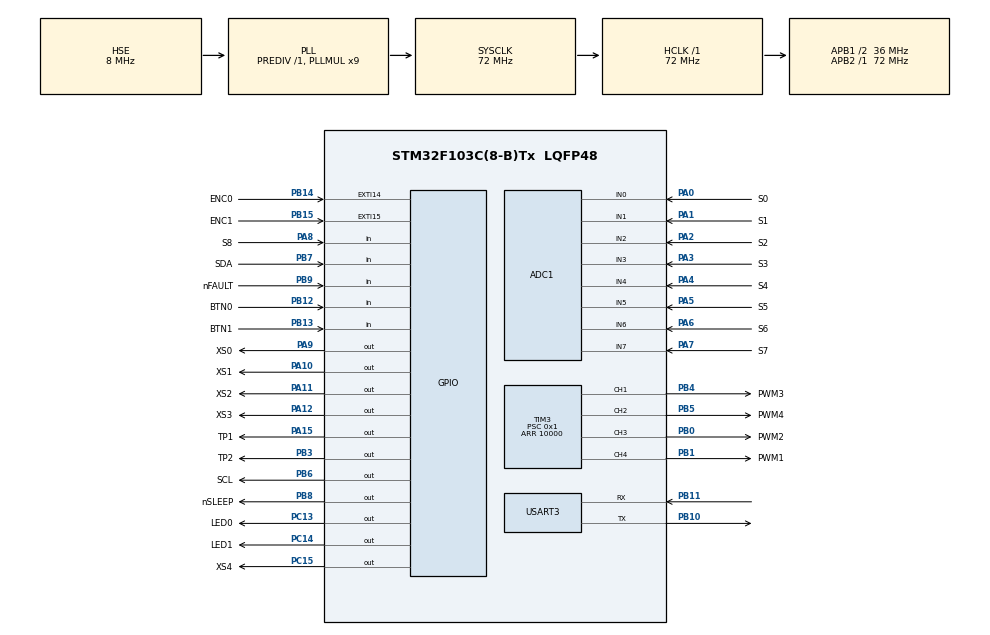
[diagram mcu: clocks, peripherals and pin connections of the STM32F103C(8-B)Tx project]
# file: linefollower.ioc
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Mcu.Family=STM32F1
PB10.Mode=Asynchronous
ADC1.ContinuousConvMode=ENABLE
SH.ADCx_IN2.0=ADC1_IN2,IN2
ADC1.SamplingTime-6\#ChannelRegularConversion=ADC_SAMPLETIME_1CYCLE_5
PB14.GPIO_Label=ENC0
PA6.GPIO_Label=S6
PB0.GPIO_Label=PWM2
PB6.GPIO_Label=SCL
PB13.GPIO_Label=BTN1
PB11.Signal=USART3_RX
PB13.Signal=GPIO_Input
PB15.Signal=GPXTI15
PC15-OSC32_OUT.GPIO_Label=XS4
TIM3.Channel-PWM\ Generation4\ CH4=TIM_CHANNEL_4
ADC1.Channel-8\#ChannelRegularConversion=ADC_CHANNEL_7
RCC.SYSCLKSource=RCC_SYSCLKSOURCE_PLLCLK
ProjectManager.StackSize=0x400
PD1-OSC_OUT.Signal=RCC_OSC_OUT
PA15.GPIO_Label=TP1
PA12.Signal=GPIO_Output
ADC1.Channel-5\#ChannelRegularConversion=ADC_CHANNEL_4
ADC1.Channel-3\#ChannelRegularConversion=ADC_CHANNEL_2
RCC.HCLKFreq_Value=72000000
SH.ADCx_IN3.0=ADC1_IN3,IN3
RCC.APB2TimFreq_Value=72000000
TIM3.Period=10000
PB6.Signal=GPIO_Output
Dma.ADC1.0.Direction=DMA_PERIPH_TO_MEMORY
ADC1.Channel-2\#ChannelRegularConversion=ADC_CHANNEL_1
TIM2.ClockDivision=TIM_CLOCKDIVISION_DIV4
Dma.ADC1.0.MemDataAlignment=DMA_MDATAALIGN_WORD
RCC.AHBFreq_Value=72000000
TIM3.Channel-PWM\ Generation1\ CH1=TIM_CHANNEL_1
TIM3.ClockDivision=TIM_CLOCKDIVISION_DIV1
NVIC.EXTI15_10_IRQn=true\:0\:0\:false\:false\:true\:true\:true
RCC.PLLMUL=RCC_PLL_MUL9
PB12.GPIO_Label=BTN0
ADC1.SamplingTime-4\#ChannelRegularConversion=ADC_SAMPLETIME_1CYCLE_5
ADC1.Channel-6\#ChannelRegularConversion=ADC_CHANNEL_5
ADC1.Rank-2\#ChannelRegularConversion=2
PA14.Mode=Serial_Wire
TIM3.Prescaler=0x1
PB1.GPIO_Label=PWM1
Dma.ADC1.0.PeriphInc=DMA_PINC_DISABLE
NVIC.TIM2_IRQn=true\:0\:0\:false\:false\:true\:true\:true
PA10.GPIO_Label=XS1
PB7.Signal=GPIO_Input
PA8.Signal=GPIO_Input
SH.ADCx_IN0.0=ADC1_IN0,IN0
SH.S_TIM3_CH1.0=TIM3_CH1,PWM Generation1 CH1
TIM4.Period=3500
VP_TIM1_VS_ClockSourceINT.Mode=Internal
PB7.GPIO_Label=SDA
Mcu.Package=LQFP48
PB9.Signal=GPIO_Input
TIM2.Prescaler=7250
PB14.GPIO_PuPd=GPIO_PULLUP
PB1.Signal=S_TIM3_CH4
PA6.Signal=ADCx_IN6
PB15.GPIO_PuPd=GPIO_PULLUP
PA2.GPIO_Label=S2
PB6.GPIO_ModeDefaultOutputPP=GPIO_MODE_OUTPUT_OD
PA10.Signal=GPIO_Output
PA15.Signal=GPIO_Output
SH.ADCx_IN1.0=ADC1_IN1,IN1
PB5.GPIO_Label=PWM4
RCC.APB1TimFreq_Value=72000000
PC14-OSC32_IN.GPIO_Label=LED1
ADC1.Rank-6\#ChannelRegularConversion=6
Dma.Request0=ADC1
ADC1.SamplingTime-8\#ChannelRegularConversion=ADC_SAMPLETIME_1CYCLE_5
PA4.GPIO_Label=S4
VP_TIM3_VS_ClockSourceINT.Mode=Internal
ADC1.Rank-4\#ChannelRegularConversion=4
PB4.Signal=S_TIM3_CH1
PA3.Signal=ADCx_IN3
PB3.GPIO_Label=TP2
RCC.PLLSourceVirtual=RCC_PLLSOURCE_HSE
Dma.ADC1.0.Instance=DMA1_Channel1
PD1-OSC_OUT.Mode=HSE-External-Oscillator
PB9.GPIO_Label=nFAULT
ADC1.Channel-4\#ChannelRegularConversion=ADC_CHANNEL_3
SH.ADCx_IN6.0=ADC1_IN6,IN6
ADC1.Rank-8\#ChannelRegularConversion=8
PA9.GPIO_Label=XS0
PC13-TAMPER-RTC.Signal=GPIO_Output
RCC.USBPrescaler=RCC_USBCLKSOURCE_PLL_DIV1_5
PA11.GPIO_Label=XS2
PD0-OSC_IN.Signal=RCC_OSC_IN
RCC.APB1CLKDivider=RCC_HCLK_DIV2
PC14-OSC32_IN.Signal=GPIO_Output
SH.S_TIM3_CH3.0=TIM3_CH3,PWM Generation3 CH3
PA12.GPIO_Label=XS3
ADC1.SamplingTime-2\#ChannelRegularConversion=ADC_SAMPLETIME_1CYCLE_5
PA0-WKUP.GPIO_Label=S0
PA0-WKUP.Signal=ADCx_IN0
ADC1.Channel-7\#ChannelRegularConversion=ADC_CHANNEL_6
RCC.ADCPresc=RCC_ADCPCLK2_DIV6
PA13.Signal=SYS_JTMS-SWDIO
TIM3.Channel-PWM\ Generation3\ CH3=TIM_CHANNEL_3
PB8.GPIO_Label=nSLEEP
Dma.ADC1.0.PeriphDataAlignment=DMA_PDATAALIGN_WORD
PA8.GPIO_Label=S8
PB11.Mode=Asynchronous
ProjectManager.TargetToolchain=STM32CubeIDE
SH.ADCx_IN7.0=ADC1_IN7,IN7
Dma.ADC1.0.Mode=DMA_CIRCULAR
Dma.ADC1.0.Priority=DMA_PRIORITY_LOW
PA9.Signal=GPIO_Output
ADC1.Channel-1\#ChannelRegularConversion=ADC_CHANNEL_0
RCC.USBFreq_Value=48000000
TIM4.Prescaler=10
PC15-OSC32_OUT.Signal=GPIO_Output
PA1.Signal=ADCx_IN1
PD0-OSC_IN.Mode=HSE-External-Oscillator
PB10.Signal=USART3_TX
PB14.Signal=GPXTI14
PA5.Signal=ADCx_IN5
SH.S_TIM3_CH2.0=TIM3_CH2,PWM Generation2 CH2
board=custom
PC13-TAMPER-RTC.GPIO_Label=LED0
ADC1.EnableAnalogWatchDog=true
RCC.APB2Freq_Value=72000000
PB4.GPIO_Label=PWM3
TIM4.ClockDivision=TIM_CLOCKDIVISION_DIV2
PB15.GPIO_Label=ENC1
VP_TIM2_VS_ClockSourceINT.Mode=Internal
VP_TIM4_VS_ClockSourceITR.Mode=TriggerSource_ITR0
PA1.GPIO_Label=S1
SH.ADCx_IN4.0=ADC1_IN4,IN4
TIM2.Period=0xffff
ADC1.NbrOfConversion=8
PA13.Mode=Serial_Wire
Mcu.Name=STM32F103C(8-B)Tx
PA2.Signal=ADCx_IN2
PB3.Signal=GPIO_Output
PA4.Signal=ADCx_IN4
ADC1.SamplingTime-1\#ChannelRegularConversion=ADC_SAMPLETIME_1CYCLE_5
RCC.SYSCLKFreq_VALUE=72000000
PB5.Signal=S_TIM3_CH2
PA7.GPIO_Label=S7
ADC1.master=1
PA5.GPIO_Label=S5
ADC1.Rank-3\#ChannelRegularConversion=3
ADC1.SamplingTime-3\#ChannelRegularConversion=ADC_SAMPLETIME_1CYCLE_5
USART3.VirtualMode=VM_ASYNC
ADC1.Rank-1\#ChannelRegularConversion=1
PA11.Signal=GPIO_Output
PA14.Signal=SYS_JTCK-SWCLK
Dma.ADC1.0.MemInc=DMA_MINC_ENABLE
ProjectManager.HeapSize=0x200
ADC1.SamplingTime-5\#ChannelRegularConversion=ADC_SAMPLETIME_1CYCLE_5
ADC1.WatchdogChannel=ADC_CHANNEL_0
PA8.GPIO_PuPd=GPIO_PULLUP
SH.ADCx_IN5.0=ADC1_IN5,IN5
ADC1.Rank-7\#ChannelRegularConversion=7
NVIC.PriorityGroup=NVIC_PRIORITYGROUP_4
ADC1.NbrOfConversionFlag=1
TIM3.Channel-PWM\ Generation2\ CH2=TIM_CHANNEL_2
PB8.Signal=GPIO_Output
ADC1.SamplingTime-7\#ChannelRegularConversion=ADC_SAMPLETIME_1CYCLE_5
NVIC.DMA1_Channel1_IRQn=true\:0\:0\:false\:false\:true\:false\:true
NVIC.TIM4_IRQn=true\:0\:0\:false\:false\:true\:true\:true
RCC.APB1Freq_Value=36000000
PB0.Signal=S_TIM3_CH3
ADC1.Rank-5\#ChannelRegularConversion=5
PB12.Signal=GPIO_Input
PA3.GPIO_Label=S3
SH.S_TIM3_CH4.0=TIM3_CH4,PWM Generation4 CH4
PA7.Signal=ADCx_IN7

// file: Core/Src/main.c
/* USER CODE BEGIN Header */
/**
  ******************************************************************************
  * @file           : main.c
  * @brief          : Main program body
  ******************************************************************************
  * @attention
  *
  * <h2><center>&copy; Copyright (c) 2021 STMicroelectronics.
  * All rights reserved.</center></h2>
  *
  * This software component is licensed by ST under BSD 3-Clause license,
  * the "License"; You may not use this file except in compliance with the
  * License. You may obtain a copy of the License at:
  *                        opensource.org/licenses/BSD-3-Clause
  *
  ******************************************************************************
  */
/* USER CODE END Header */

#include "main.h"

/* USER CODE BEGIN PTD */
typedef enum States
{
	CALIBRATING,
	DRIVING,
	OBSTACLE,
	INTERRUPTIONINI,
	INTERRUPTION,
}States;
/* USER CODE END PTD */

ADC_HandleTypeDef hadc1;
DMA_HandleTypeDef hdma_adc1;

TIM_HandleTypeDef htim1;
TIM_HandleTypeDef htim2;
TIM_HandleTypeDef htim3;
TIM_HandleTypeDef htim4;

UART_HandleTypeDef huart3;

/* USER CODE BEGIN PV */
uint32_t sensorValues[DMA_MEMDEPTH];
uint32_t weights[8] = { 0, 15, 30, 45, 60, 75, 90, 105 };
uint32_t minVals[8];
uint32_t maxVals[8];
uint32_t threshVals[8];
WEIGHTEDAVG_t filter;
uint32_t pos;

VL53_t s2;

volatile uint32_t ticksLeft = 0;
volatile uint32_t ticksRight = 0;

CTRL_t dTicks;
CTRL_t ctrl;

uint8_t wireRx[20];
uint8_t wireTx[20];
QUEUE_t wireRxQueue, wireTxQueue;
WIRE_t wire;

bool success;

uint16_t dists[2];

bool tp1 = false;
bool tp2 = false;

bool isLine = false;
bool isOilspill = false;
int stop = -101;
enum States state;
/* USER CODE END PV */

void SystemClock_Config(void);
static void MX_GPIO_Init(void);
static void MX_DMA_Init(void);
static void MX_ADC1_Init(void);
static void MX_TIM1_Init(void);
static void MX_TIM2_Init(void);
static void MX_TIM3_Init(void);
static void MX_TIM4_Init(void);
static void MX_USART3_UART_Init(void);
/* USER CODE BEGIN PFP */

void calibrateFiler();
bool validate();
void followTrack();
void turn(bool left, int speed, int ticks);
void goStraight(int speed, int ticks);
void obstacleSequence();
void interruptionSequence();
void checkforOilspill();

void ISR_ENCODER0()
{
	ticksLeft++;
}

void ISR_ENCODER1()
{
	ticksRight++;
}

void ISR_DMA(void)
{

}

void ISR_CTRL()
{
//	tp2 = !tp2;
//	HAL_GPIO_WritePin(TP2_GPIO_Port, TP2_Pin, tp2);
	followTrack();
}
/* USER CODE END PFP */

int main(void)
{

  /* MCU Configuration--------------------------------------------------------*/

  /* Reset of all peripherals, Initializes the Flash interface and the Systick. */
  HAL_Init();

  /* Configure the system clock */
  SystemClock_Config();

  /* USER CODE BEGIN SysInit */
  state = CALIBRATING;
  /* USER CODE END SysInit */

  /* Initialize all configured peripherals */
  MX_GPIO_Init();
  MX_DMA_Init();
  MX_ADC1_Init();
  MX_TIM1_Init();
  MX_TIM2_Init();
  MX_TIM3_Init();
  MX_TIM4_Init();
  MX_USART3_UART_Init();
  /* USER CODE BEGIN 2 */
  Powertrain_Init();

  WEIGHTEDAVG_Init(&filter,
		  8,
		  sensorValues,
		  minVals,
		  maxVals,
		  1600,
		  weights);
  WEIGHTEDAVG_Invert(&filter, true);

  HAL_GPIO_WritePin(XS0_GPIO_Port, XS0_Pin, 1);
  HAL_GPIO_WritePin(XS1_GPIO_Port, XS1_Pin, 1);
  HAL_GPIO_WritePin(XS2_GPIO_Port, XS2_Pin, 1);
  HAL_GPIO_WritePin(XS3_GPIO_Port, XS3_Pin, 1);
  HAL_GPIO_WritePin(XS4_GPIO_Port, XS4_Pin, 1);

  HAL_Delay(100);

  QUEUE_Init(&wireRxQueue, (char*)wireRx, 20);
  QUEUE_Init(&wireTxQueue, (char*)wireTx, 20);
  HAL_ADC_Start_DMA(&hadc1, sensorValues, DMA_MEMDEPTH);
  WIRE_Init(&wire,
		  SDA_GPIO_Port, SDA_Pin,
		  SCL_GPIO_Port, SCL_Pin,
		  0,
		  &wireRxQueue, &wireTxQueue);
  WIRE_Begin(&wire);

  CTRL_Init(KP_LINE,
		  KI_LINE,
		  KD_LINE,
		  T_LINE,
		  100.0, 100.0, &ctrl);

  CTRL_Init(KP_DIFF,
		  KI_DIFF,
		  KD_DIFF,
		  T_DIFF,
		  100.0, 100.0, &dTicks);

  calibrateFiler();

  VL53_SetTimeout(&s2, 500);
  success = VL53_Init(&s2, &wire, 0x29, XS2_GPIO_Port, XS2_Pin);
  VL53_SetMeasurementTimingBudget(&s2, 20000);
  /* USER CODE END 2 */

  /* Infinite loop */
  /* USER CODE BEGIN WHILE */
  while (1)
  {
	  for(int i = 0; i < 2; i++)
	  {
		  if(!VL53_TimeoutOccured(&s2))
		  {
			  dists[i] = VL53_ReadRangeSingle_mm(&s2);
		  }
		  else
		  {
			  dists[i] = OBSTACLE_MINDIST_MM + 5;
		  }
	  }

	  if(dists[0] <= OBSTACLE_MINDIST_MM && dists[1] <= OBSTACLE_MINDIST_MM)
	  {
		  state = OBSTACLE;
		  HAL_GPIO_WritePin(LED0_GPIO_Port, LED0_Pin, 1);
		  obstacleSequence();
		  state = DRIVING;
		  HAL_Delay(100);
	  }
	  else if(INTERRUPTIONINI != state)
	  {
		  HAL_GPIO_WritePin(LED0_GPIO_Port, LED0_Pin, 0);
		  state = DRIVING;
	  }

	  if(INTERRUPTIONINI == state)
	  {
		  state = INTERRUPTION;
//		  HAL_Delay(200);
		  if(!isLine)
		  {
			  interruptionSequence();
//			  Powertrain_SetDutycycles(stop, stop);
//			  HAL_Delay(100);
//			  obstacleSequence();
		  }
		  state = DRIVING;
	  }
    /* USER CODE END WHILE */

  }
}

void SystemClock_Config(void)
{
  RCC_OscInitTypeDef RCC_OscInitStruct = {0};
  RCC_ClkInitTypeDef RCC_ClkInitStruct = {0};
  RCC_PeriphCLKInitTypeDef PeriphClkInit = {0};

  /** Initializes the CPU, AHB and APB busses clocks
  */
  RCC_OscInitStruct.OscillatorType = RCC_OSCILLATORTYPE_HSE;
  RCC_OscInitStruct.HSEState = RCC_HSE_ON;
  RCC_OscInitStruct.HSEPredivValue = RCC_HSE_PREDIV_DIV1;
  RCC_OscInitStruct.HSIState = RCC_HSI_ON;
  RCC_OscInitStruct.PLL.PLLState = RCC_PLL_ON;
  RCC_OscInitStruct.PLL.PLLSource = RCC_PLLSOURCE_HSE;
  RCC_OscInitStruct.PLL.PLLMUL = RCC_PLL_MUL9;
  if (HAL_RCC_OscConfig(&RCC_OscInitStruct) != HAL_OK)
  {
    Error_Handler();
  }
  /** Initializes the CPU, AHB and APB busses clocks
  */
  RCC_ClkInitStruct.ClockType = RCC_CLOCKTYPE_HCLK|RCC_CLOCKTYPE_SYSCLK
                              |RCC_CLOCKTYPE_PCLK1|RCC_CLOCKTYPE_PCLK2;
  RCC_ClkInitStruct.SYSCLKSource = RCC_SYSCLKSOURCE_PLLCLK;
  RCC_ClkInitStruct.AHBCLKDivider = RCC_SYSCLK_DIV1;
  RCC_ClkInitStruct.APB1CLKDivider = RCC_HCLK_DIV2;
  RCC_ClkInitStruct.APB2CLKDivider = RCC_HCLK_DIV1;

  if (HAL_RCC_ClockConfig(&RCC_ClkInitStruct, FLASH_LATENCY_2) != HAL_OK)
  {
    Error_Handler();
  }
  PeriphClkInit.PeriphClockSelection = RCC_PERIPHCLK_ADC;
  PeriphClkInit.AdcClockSelection = RCC_ADCPCLK2_DIV6;
  if (HAL_RCCEx_PeriphCLKConfig(&PeriphClkInit) != HAL_OK)
  {
    Error_Handler();
  }
}

static void MX_ADC1_Init(void)
{

  ADC_AnalogWDGConfTypeDef AnalogWDGConfig = {0};
  ADC_ChannelConfTypeDef sConfig = {0};

  /** Common config
  */
  hadc1.Instance = ADC1;
  hadc1.Init.ScanConvMode = ADC_SCAN_ENABLE;
  hadc1.Init.ContinuousConvMode = ENABLE;
  hadc1.Init.DiscontinuousConvMode = DISABLE;
  hadc1.Init.ExternalTrigConv = ADC_SOFTWARE_START;
  hadc1.Init.DataAlign = ADC_DATAALIGN_RIGHT;
  hadc1.Init.NbrOfConversion = 8;
  if (HAL_ADC_Init(&hadc1) != HAL_OK)
  {
    Error_Handler();
  }
  /** Configure Analog WatchDog 1
  */
  AnalogWDGConfig.WatchdogMode = ADC_ANALOGWATCHDOG_SINGLE_REG;
  AnalogWDGConfig.HighThreshold = 0;
  AnalogWDGConfig.LowThreshold = 0;
  AnalogWDGConfig.Channel = ADC_CHANNEL_0;
  AnalogWDGConfig.ITMode = DISABLE;
  if (HAL_ADC_AnalogWDGConfig(&hadc1, &AnalogWDGConfig) != HAL_OK)
  {
    Error_Handler();
  }
  /** Configure Regular Channel
  */
  sConfig.Channel = ADC_CHANNEL_0;
  sConfig.Rank = ADC_REGULAR_RANK_1;
  sConfig.SamplingTime = ADC_SAMPLETIME_1CYCLE_5;
  if (HAL_ADC_ConfigChannel(&hadc1, &sConfig) != HAL_OK)
  {
    Error_Handler();
  }
  /** Configure Regular Channel
  */
  sConfig.Channel = ADC_CHANNEL_1;
  sConfig.Rank = ADC_REGULAR_RANK_2;
  if (HAL_ADC_ConfigChannel(&hadc1, &sConfig) != HAL_OK)
  {
    Error_Handler();
  }
  /** Configure Regular Channel
  */
  sConfig.Channel = ADC_CHANNEL_2;
  sConfig.Rank = ADC_REGULAR_RANK_3;
  if (HAL_ADC_ConfigChannel(&hadc1, &sConfig) != HAL_OK)
  {
    Error_Handler();
  }
  /** Configure Regular Channel
  */
  sConfig.Channel = ADC_CHANNEL_3;
  sConfig.Rank = ADC_REGULAR_RANK_4;
  if (HAL_ADC_ConfigChannel(&hadc1, &sConfig) != HAL_OK)
  {
    Error_Handler();
  }
  /** Configure Regular Channel
  */
  sConfig.Channel = ADC_CHANNEL_4;
  sConfig.Rank = ADC_REGULAR_RANK_5;
  if (HAL_ADC_ConfigChannel(&hadc1, &sConfig) != HAL_OK)
  {
    Error_Handler();
  }
  /** Configure Regular Channel
  */
  sConfig.Channel = ADC_CHANNEL_5;
  sConfig.Rank = ADC_REGULAR_RANK_6;
  if (HAL_ADC_ConfigChannel(&hadc1, &sConfig) != HAL_OK)
  {
    Error_Handler();
  }
  /** Configure Regular Channel
  */
  sConfig.Channel = ADC_CHANNEL_6;
  sConfig.Rank = ADC_REGULAR_RANK_7;
  if (HAL_ADC_ConfigChannel(&hadc1, &sConfig) != HAL_OK)
  {
    Error_Handler();
  }
  /** Configure Regular Channel
  */
  sConfig.Channel = ADC_CHANNEL_7;
  sConfig.Rank = ADC_REGULAR_RANK_8;
  if (HAL_ADC_ConfigChannel(&hadc1, &sConfig) != HAL_OK)
  {
    Error_Handler();
  }

}

static void MX_TIM1_Init(void)
{

  TIM_ClockConfigTypeDef sClockSourceConfig = {0};
  TIM_MasterConfigTypeDef sMasterConfig = {0};

  htim1.Instance = TIM1;
  htim1.Init.Prescaler = 0;
  htim1.Init.CounterMode = TIM_COUNTERMODE_UP;
  htim1.Init.Period = 0;
  htim1.Init.ClockDivision = TIM_CLOCKDIVISION_DIV1;
  htim1.Init.RepetitionCounter = 0;
  htim1.Init.AutoReloadPreload = TIM_AUTORELOAD_PRELOAD_DISABLE;
  if (HAL_TIM_Base_Init(&htim1) != HAL_OK)
  {
    Error_Handler();
  }
  sClockSourceConfig.ClockSource = TIM_CLOCKSOURCE_INTERNAL;
  if (HAL_TIM_ConfigClockSource(&htim1, &sClockSourceConfig) != HAL_OK)
  {
    Error_Handler();
  }
  sMasterConfig.MasterOutputTrigger = TIM_TRGO_RESET;
  sMasterConfig.MasterSlaveMode = TIM_MASTERSLAVEMODE_DISABLE;
  if (HAL_TIMEx_MasterConfigSynchronization(&htim1, &sMasterConfig) != HAL_OK)
  {
    Error_Handler();
  }

}

static void MX_TIM2_Init(void)
{

  TIM_ClockConfigTypeDef sClockSourceConfig = {0};
  TIM_MasterConfigTypeDef sMasterConfig = {0};

  htim2.Instance = TIM2;
  htim2.Init.Prescaler = 7250;
  htim2.Init.CounterMode = TIM_COUNTERMODE_UP;
  htim2.Init.Period = 0xffff;
  htim2.Init.ClockDivision = TIM_CLOCKDIVISION_DIV4;
  htim2.Init.AutoReloadPreload = TIM_AUTORELOAD_PRELOAD_DISABLE;
  if (HAL_TIM_Base_Init(&htim2) != HAL_OK)
  {
    Error_Handler();
  }
  sClockSourceConfig.ClockSource = TIM_CLOCKSOURCE_INTERNAL;
  if (HAL_TIM_ConfigClockSource(&htim2, &sClockSourceConfig) != HAL_OK)
  {
    Error_Handler();
  }
  sMasterConfig.MasterOutputTrigger = TIM_TRGO_RESET;
  sMasterConfig.MasterSlaveMode = TIM_MASTERSLAVEMODE_DISABLE;
  if (HAL_TIMEx_MasterConfigSynchronization(&htim2, &sMasterConfig) != HAL_OK)
  {
    Error_Handler();
  }
  /* USER CODE BEGIN TIM2_Init 2 */
  HAL_TIM_Base_Start_IT(&htim2);
  /* USER CODE END TIM2_Init 2 */

}

static void MX_TIM3_Init(void)
{

  TIM_ClockConfigTypeDef sClockSourceConfig = {0};
  TIM_MasterConfigTypeDef sMasterConfig = {0};
  TIM_OC_InitTypeDef sConfigOC = {0};

  htim3.Instance = TIM3;
  htim3.Init.Prescaler = 0x1;
  htim3.Init.CounterMode = TIM_COUNTERMODE_UP;
  htim3.Init.Period = 10000;
  htim3.Init.ClockDivision = TIM_CLOCKDIVISION_DIV1;
  htim3.Init.AutoReloadPreload = TIM_AUTORELOAD_PRELOAD_DISABLE;
  if (HAL_TIM_Base_Init(&htim3) != HAL_OK)
  {
    Error_Handler();
  }
  sClockSourceConfig.ClockSource = TIM_CLOCKSOURCE_INTERNAL;
  if (HAL_TIM_ConfigClockSource(&htim3, &sClockSourceConfig) != HAL_OK)
  {
    Error_Handler();
  }
  if (HAL_TIM_PWM_Init(&htim3) != HAL_OK)
  {
    Error_Handler();
  }
  sMasterConfig.MasterOutputTrigger = TIM_TRGO_RESET;
  sMasterConfig.MasterSlaveMode = TIM_MASTERSLAVEMODE_DISABLE;
  if (HAL_TIMEx_MasterConfigSynchronization(&htim3, &sMasterConfig) != HAL_OK)
  {
    Error_Handler();
  }
  sConfigOC.OCMode = TIM_OCMODE_PWM1;
  sConfigOC.Pulse = 0;
  sConfigOC.OCPolarity = TIM_OCPOLARITY_HIGH;
  sConfigOC.OCFastMode = TIM_OCFAST_DISABLE;
  if (HAL_TIM_PWM_ConfigChannel(&htim3, &sConfigOC, TIM_CHANNEL_1) != HAL_OK)
  {
    Error_Handler();
  }
  if (HAL_TIM_PWM_ConfigChannel(&htim3, &sConfigOC, TIM_CHANNEL_2) != HAL_OK)
  {
    Error_Handler();
  }
  if (HAL_TIM_PWM_ConfigChannel(&htim3, &sConfigOC, TIM_CHANNEL_3) != HAL_OK)
  {
    Error_Handler();
  }
  if (HAL_TIM_PWM_ConfigChannel(&htim3, &sConfigOC, TIM_CHANNEL_4) != HAL_OK)
  {
    Error_Handler();
  }
  /* USER CODE BEGIN TIM3_Init 2 */
  HAL_TIM_PWM_Start(&htim3, TIM_CHANNEL_1);
  HAL_TIM_PWM_Start(&htim3, TIM_CHANNEL_2);
  HAL_TIM_PWM_Start(&htim3, TIM_CHANNEL_3);
  HAL_TIM_PWM_Start(&htim3, TIM_CHANNEL_4);
  /* USER CODE END TIM3_Init 2 */
  HAL_TIM_MspPostInit(&htim3);

}

static void MX_TIM4_Init(void)
{

  TIM_SlaveConfigTypeDef sSlaveConfig = {0};
  TIM_MasterConfigTypeDef sMasterConfig = {0};

  htim4.Instance = TIM4;
  htim4.Init.Prescaler = 10;
  htim4.Init.CounterMode = TIM_COUNTERMODE_UP;
  htim4.Init.Period = 3500;
  htim4.Init.ClockDivision = TIM_CLOCKDIVISION_DIV2;
  htim4.Init.AutoReloadPreload = TIM_AUTORELOAD_PRELOAD_DISABLE;
  if (HAL_TIM_Base_Init(&htim4) != HAL_OK)
  {
    Error_Handler();
  }
  sSlaveConfig.SlaveMode = TIM_SLAVEMODE_DISABLE;
  sSlaveConfig.InputTrigger = TIM_TS_ITR0;
  if (HAL_TIM_SlaveConfigSynchro(&htim4, &sSlaveConfig) != HAL_OK)
  {
    Error_Handler();
  }
  sMasterConfig.MasterOutputTrigger = TIM_TRGO_RESET;
  sMasterConfig.MasterSlaveMode = TIM_MASTERSLAVEMODE_DISABLE;
  if (HAL_TIMEx_MasterConfigSynchronization(&htim4, &sMasterConfig) != HAL_OK)
  {
    Error_Handler();
  }
  /* USER CODE BEGIN TIM4_Init 2 */
  HAL_TIM_Base_Start_IT(&htim4);
  /* USER CODE END TIM4_Init 2 */

}

static void MX_USART3_UART_Init(void)
{

  huart3.Instance = USART3;
  huart3.Init.BaudRate = 115200;
  huart3.Init.WordLength = UART_WORDLENGTH_8B;
  huart3.Init.StopBits = UART_STOPBITS_1;
  huart3.Init.Parity = UART_PARITY_NONE;
  huart3.Init.Mode = UART_MODE_TX_RX;
  huart3.Init.HwFlowCtl = UART_HWCONTROL_NONE;
  huart3.Init.OverSampling = UART_OVERSAMPLING_16;
  if (HAL_UART_Init(&huart3) != HAL_OK)
  {
    Error_Handler();
  }

}

static void MX_DMA_Init(void)
{

  /* DMA controller clock enable */
  __HAL_RCC_DMA1_CLK_ENABLE();

  /* DMA interrupt init */
  /* DMA1_Channel1_IRQn interrupt configuration */
  HAL_NVIC_SetPriority(DMA1_Channel1_IRQn, 0, 0);
  HAL_NVIC_EnableIRQ(DMA1_Channel1_IRQn);

}

static void MX_GPIO_Init(void)
{
  GPIO_InitTypeDef GPIO_InitStruct = {0};

  /* GPIO Ports Clock Enable */
  __HAL_RCC_GPIOC_CLK_ENABLE();
  __HAL_RCC_GPIOD_CLK_ENABLE();
  __HAL_RCC_GPIOA_CLK_ENABLE();
  __HAL_RCC_GPIOB_CLK_ENABLE();

  /*Configure GPIO pin Output Level */
  HAL_GPIO_WritePin(GPIOC, LED0_Pin|LED1_Pin|XS4_Pin, GPIO_PIN_RESET);

  /*Configure GPIO pin Output Level */
  HAL_GPIO_WritePin(GPIOA, XS0_Pin|XS1_Pin|XS2_Pin|XS3_Pin
                          |TP1_Pin, GPIO_PIN_RESET);

  /*Configure GPIO pin Output Level */
  HAL_GPIO_WritePin(GPIOB, TP2_Pin|SCL_Pin|nSLEEP_Pin, GPIO_PIN_RESET);

  /*Configure GPIO pins : LED0_Pin LED1_Pin XS4_Pin */
  GPIO_InitStruct.Pin = LED0_Pin|LED1_Pin|XS4_Pin;
  GPIO_InitStruct.Mode = GPIO_MODE_OUTPUT_PP;
  GPIO_InitStruct.Pull = GPIO_NOPULL;
  GPIO_InitStruct.Speed = GPIO_SPEED_FREQ_LOW;
  HAL_GPIO_Init(GPIOC, &GPIO_InitStruct);

  /*Configure GPIO pins : BTN0_Pin BTN1_Pin SDA_Pin nFAULT_Pin */
  GPIO_InitStruct.Pin = BTN0_Pin|BTN1_Pin|SDA_Pin|nFAULT_Pin;
  GPIO_InitStruct.Mode = GPIO_MODE_INPUT;
  GPIO_InitStruct.Pull = GPIO_NOPULL;
  HAL_GPIO_Init(GPIOB, &GPIO_InitStruct);

  /*Configure GPIO pins : ENC0_Pin ENC1_Pin */
  GPIO_InitStruct.Pin = ENC0_Pin|ENC1_Pin;
  GPIO_InitStruct.Mode = GPIO_MODE_IT_RISING;
  GPIO_InitStruct.Pull = GPIO_PULLUP;
  HAL_GPIO_Init(GPIOB, &GPIO_InitStruct);

  /*Configure GPIO pin : S8_Pin */
  GPIO_InitStruct.Pin = S8_Pin;
  GPIO_InitStruct.Mode = GPIO_MODE_INPUT;
  GPIO_InitStruct.Pull = GPIO_PULLUP;
  HAL_GPIO_Init(S8_GPIO_Port, &GPIO_InitStruct);

  /*Configure GPIO pins : XS0_Pin XS1_Pin XS2_Pin XS3_Pin
                           TP1_Pin */
  GPIO_InitStruct.Pin = XS0_Pin|XS1_Pin|XS2_Pin|XS3_Pin
                          |TP1_Pin;
  GPIO_InitStruct.Mode = GPIO_MODE_OUTPUT_PP;
  GPIO_InitStruct.Pull = GPIO_NOPULL;
  GPIO_InitStruct.Speed = GPIO_SPEED_FREQ_LOW;
  HAL_GPIO_Init(GPIOA, &GPIO_InitStruct);

  /*Configure GPIO pins : TP2_Pin nSLEEP_Pin */
  GPIO_InitStruct.Pin = TP2_Pin|nSLEEP_Pin;
  GPIO_InitStruct.Mode = GPIO_MODE_OUTPUT_PP;
  GPIO_InitStruct.Pull = GPIO_NOPULL;
  GPIO_InitStruct.Speed = GPIO_SPEED_FREQ_LOW;
  HAL_GPIO_Init(GPIOB, &GPIO_InitStruct);

  /*Configure GPIO pin : SCL_Pin */
  GPIO_InitStruct.Pin = SCL_Pin;
  GPIO_InitStruct.Mode = GPIO_MODE_OUTPUT_OD;
  GPIO_InitStruct.Pull = GPIO_NOPULL;
  GPIO_InitStruct.Speed = GPIO_SPEED_FREQ_LOW;
  HAL_GPIO_Init(SCL_GPIO_Port, &GPIO_InitStruct);

  /* EXTI interrupt init*/
  HAL_NVIC_SetPriority(EXTI15_10_IRQn, 0, 0);
  HAL_NVIC_EnableIRQ(EXTI15_10_IRQn);

}

/* USER CODE BEGIN 4 */
void Powertrain_Init()
{
	Powertrain_EnableMotors(1);
	Powertrain_SetDutycycles(0, 0);
}

void Powertrain_EnableMotors(int enableState)
{
	HAL_GPIO_WritePin(nSLEEP_GPIO_Port, nSLEEP_Pin, enableState);
}

void Powertrain_SetDutycycles(int left, int right)
{
	static int lastLeft = 0;
	static int lastRight = 0;

	if(left > 100)
	{
		left = 100;
	}
	if(left < -100 && left != stop)
	{
		left = -100;
	}

	if(right > 100)
	{
		right = 100;
	}
	if(right < -100 && right != stop)
	{
		right = -100;
	}

	left *= 100;
	right *= 100;

	if(left != lastLeft)
	{
		if(left < 0)
		{
			if(left < -100*100)
			{
				htim3.Instance->CCR1 = 100*100;
				htim3.Instance->CCR3 = 100*100;
			}
			else
			{
				left = -left;
				htim3.Instance->CCR1 = left;
				htim3.Instance->CCR3 = 0;
			}
		}
		else
		{
			htim3.Instance->CCR1 = 0;
			htim3.Instance->CCR3 = left;
		}
		lastLeft = left;
	}

	if(right != lastRight)
	{
		if(right < 0)
		{
			if(right < -100*100)
			{
				htim3.Instance->CCR2 = 100*100;
				htim3.Instance->CCR4 = 100*100;
			}
			else
			{
				right = -right;
				htim3.Instance->CCR2 = right;
				htim3.Instance->CCR4 = 0;
			}
		}
		else
		{
			htim3.Instance->CCR2 = 0;
			htim3.Instance->CCR4 = right;
		}
		lastRight = right;
	}
}

void Powertrain_Break(bool left, bool right)
{
	Powertrain_SetDutycycles(0, 0);
	if(left)
	{
		htim3.Instance->CCR1 = 100*100;
		htim3.Instance->CCR3 = 100*100;
	}
	if(right)
	{
		htim3.Instance->CCR2 = 100*100;
		htim3.Instance->CCR4 = 100*100;
	}
}

void calibrateFiler()
{
	state = CALIBRATING;
	while(HAL_GPIO_ReadPin(BTN1_GPIO_Port, BTN1_Pin))
	{
		HAL_GPIO_WritePin(LED1_GPIO_Port, LED1_Pin, 1);
		WEIGHTEDAVG_Calibrate(&filter);
	}
	for(int i = 0; i < 8; i++)
	{
		threshVals[i] = (minVals[i] + maxVals[i]) / 2;
	}
	HAL_GPIO_WritePin(LED1_GPIO_Port, LED1_Pin, 0);
	state = DRIVING;
}

bool validate()
{
	uint32_t min = 0xffffffff;
	int minPos = 0;

	for(int i = 0; i < 8; i++)
	{
		if(sensorValues[i] < min)
		{
			minPos = i;
			min = sensorValues[i];
		}
	}

	if((min <= threshVals[minPos] && minPos < 5) || isOilspill)
	{
		return true;
	}
	else
	{
		return false;
	}
}

void followTrack()
{
	HAL_GPIO_WritePin(TP1_GPIO_Port, TP1_Pin, 1);

	if(CALIBRATING == state)
	{
		return;
	}
	  for(int i = 0; i < DMA_MEMDEPTH; i += 8)
	  {
		  WEIGHTEDAVG_SetData(&filter, &sensorValues[i]);
		  WEIGHTEDAVG_AddSamples(&filter);
	  }
	  pos = WEIGHTEDAVG_Process(&filter);
	  checkforOilspill();
	  if(validate())
	  {
		  HAL_GPIO_WritePin(LED1_GPIO_Port, LED1_Pin, 1);
		  isLine = true;
		  float delta = CTRL_Calculate((float)pos, (float)LINEPOS, &ctrl, false);
		  int left = V0 + (int)delta;
		  if(left < 0)
		  {
			  left = stop;
		  }
		  if(left > V0)
		  {
			  left = V0;
		  }
		  int right = V0 - (int)delta;
		  if(right < 0)
		  {
			  right = stop;
		  }
		  if(right > V0)
		  {
			  right = V0;
		  }

		  if(DRIVING == state)
		  {
			  Powertrain_SetDutycycles(left, right);
		  }
	  }
	  else
	  {
		  HAL_GPIO_WritePin(LED1_GPIO_Port, LED1_Pin, 0);
		  isLine = false;
		  if(INTERRUPTION != state && OBSTACLE != state)
		  {
			  state = INTERRUPTIONINI;
		  }
		  if(DRIVING == state || INTERRUPTIONINI == state)
		  {
			  Powertrain_SetDutycycles(stop, stop);
		  }
	  }
	HAL_GPIO_WritePin(TP1_GPIO_Port, TP1_Pin, 0);
}

void turn(bool left, int speed, int ticks)
{
	ticksLeft = 0;
	ticksRight = 0;
	if(left)
	{
		Powertrain_SetDutycycles(-speed, stop);
	}
	else
	{
		Powertrain_SetDutycycles(stop, -speed);
	}
	while((left && ticksLeft < ticks) || (!left && ticksRight < ticks)){}
	Powertrain_SetDutycycles(stop, stop);
}

void turnCenter(bool left, int speed, int ticks)
{
	ticksLeft = 0;
	ticksRight = 0;
	if(left)
	{
		Powertrain_SetDutycycles(-speed, speed);
	}
	else
	{
		Powertrain_SetDutycycles(speed, -speed);
	}
	while((left && ticksLeft < ticks) || (!left && ticksRight < ticks)){}
	Powertrain_SetDutycycles(stop, stop);
}

void goStraight(int speed, int ticks)
{
	ticksLeft = 0;
	ticksRight = 0;
	CTRL_Calculate(0.0, 0.0, &dTicks, true);
	while((ticksLeft < ticks) && (ticksRight < ticks))
	{
		int delta = ticksLeft - ticksRight;
		int dv = (float)CTRL_Calculate((float)delta, 0.0, &dTicks, false);
		int left = speed + dv;
		int right = speed - dv;
		if(left < 0)
		{
			left = stop;
		}
		if(right < 0)
		{
			right = stop;
		}
		Powertrain_SetDutycycles(left, right);
	}
	Powertrain_SetDutycycles(stop, stop);
}

void obstacleSequence()
{
	  Powertrain_SetDutycycles(stop, stop);
	  HAL_Delay(100);
	  turn(true, 40, 55);
	  HAL_Delay(10);
	  Powertrain_SetDutycycles(50, 50);
	  HAL_Delay(150);
	  Powertrain_SetDutycycles(40, 22);
	  HAL_Delay(500);
	  while(!isLine){}
	  goStraight(40, 20);
	  Powertrain_SetDutycycles(stop, stop);
	  HAL_Delay(150);
	  while(!isLine)
	  {
		  turn(true, 43, 2);
	  }
	  Powertrain_SetDutycycles(stop, stop);
	  HAL_Delay(150);
	  goStraight(40, 10);
}

void interruptionSequence()
{
	goStraight(V0, 30);
	Powertrain_SetDutycycles(stop, stop);
	HAL_Delay(10);
	bool first = true;
	bool found = false;
	while(!isLine)
	{
		int i = 20;
		if(first)
		{
			i = 10;
			first = false;
		}

		for(int k = 0; k < i; k++)
		{
			if(isLine || found)
			{
				found = true;
				break;
			}
			turn(true, V0, 2);
		}
		i = 20;
		Powertrain_SetDutycycles(stop, stop);
		HAL_Delay(50);
		for(int k = 0; k < i; k++)
		{
			if(isLine || found)
			{
				found = true;
				break;
			}
			turn(false, V0, 2);
		}
	}
}

void checkforOilspill()
{
	int count = 0;
	for(int i = 0; i < 8; i++)
	{
		if(sensorValues[i] < threshVals[i])
		{
			count ++;
		}
	}
	if(count > 5)
	{
		isOilspill = true;
		WEIGHTEDAVG_Invert(&filter, false);
	}
	else
	{
		isOilspill = false;
		WEIGHTEDAVG_Invert(&filter, true);
	}
}
/* USER CODE END 4 */

void Error_Handler(void)
{
}

/************************ (C) COPYRIGHT STMicroelectronics *****END OF FILE****/
